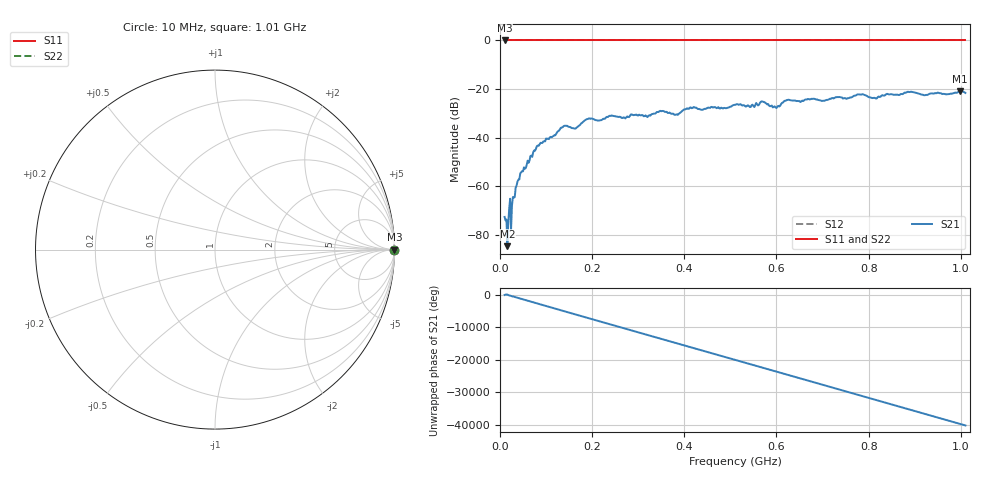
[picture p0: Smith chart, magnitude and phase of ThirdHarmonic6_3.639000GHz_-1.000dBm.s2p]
! 8/17/2025 12:13:30 PM
! C:\ANRITSUVNA\TEMP\TEMP.S2P
! CHANNEL.1
! TR.MEASUREMENT
! RAW.DATA
! RF.CORRECTION.OFF
! AVERAGING.OFF
! IF.BANDWIDTH: 5KHZ
! SWEEPTYPE:  FREQ.SWEEP(Linear)
! Reference Plane Port Info
! PORT:  PORT1  PORT2
! DISTANCE:  0  m  0  m
! TIME:  0  s  0  s
! PHASE.OFFSET:  0  deg.  0  deg.
! LOSS:  0  dB  0  dB
! REF.LOSS:  0  dB  0  dB
! REF.FREQ:  0  Hz  0  Hz
! Power Info
! POWER:  -20  dBm  -20  dBm
! EFF.POWER:  -20  dBm  -20  dBm
! SOURCE.ATTEN:  0  dB  0  dB
! TEST.ATTEN:  0  dB  0  dB
# GHZ S RI R 50.0
! FREQ.GHZ  S11RE  S11IM  S21RE  S21IM  S12RE  S12IM  S22RE  S22IM
!; PortSelection: Port_12
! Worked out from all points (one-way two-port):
!   501 points, 10 MHz to 1.01 GHz, reference 50 ohm
!   highest |S21| = -20.84 dB at 998 MHz (marker M1); lowest = -84.6 dB at 16 MHz (marker M2)
!   lowest |S11| = 0.0 dB at 10 MHz (marker M3)
!   |S11| at or under -10 dB: nowhere
!   |S22| runs from 0.0 to 0.0 dB; largest |S21 - S12| = 1.1
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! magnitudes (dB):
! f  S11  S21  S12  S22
! 10 MHz  0.0  -72.6  0.0  0.0
! 16 MHz  0.0  -84.6  0.0  0.0
! 20 MHz  0.0  -69.1  0.0  0.0
! 24 MHz  0.0  -77.6  0.0  0.0
! 28 MHz  0.0  -64.4  0.0  0.0
! 30 MHz  0.0  -64.6  0.0  0.0
! 42 MHz  0.0  -57.1  0.0  0.0
! 78 MHz  0.0  -44.6  0.0  0.0
! 136 MHz  0.0  -35.6  0.0  0.0
! 162 MHz  0.0  -36.3  0.0  0.0
! 178 MHz  0.0  -33.9  0.0  0.0
! 344 MHz  0.0  -29.4  0.0  0.0
! 382 MHz  0.0  -30.5  0.0  0.0
! 416 MHz  0.0  -27.9  0.0  0.0
! 510 MHz  0.0  -26.5  0.0  0.0
! 570 MHz  0.0  -25.1  0.0  0.0
! 596 MHz  0.0  -27.1  0.0  0.0
! 622 MHz  0.0  -24.5  0.0  0.0
! 678 MHz  0.0  -24.1  0.0  0.0
! 844 MHz  0.0  -22.2  0.0  0.0
! 998 MHz  0.0  -20.8  0.0  0.0
! 1.01 GHz  0.0  -21.6  0.0  0.0
